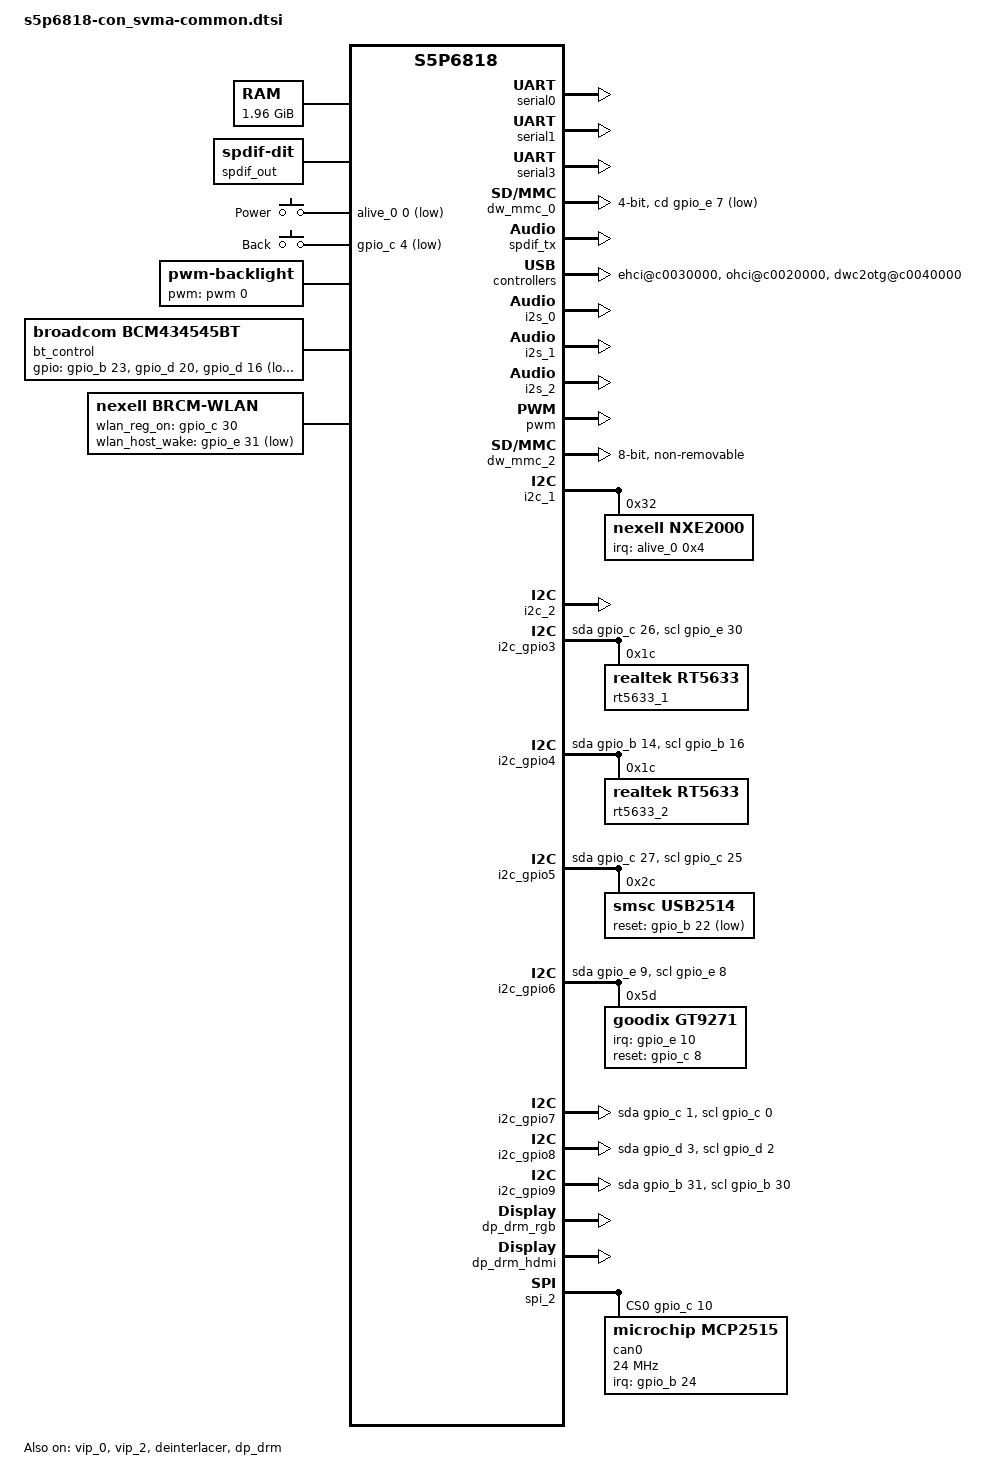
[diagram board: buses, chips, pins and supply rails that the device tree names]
/*
 * Copyright (C) 2020  Nexell Co., Ltd.
 * Author: Juntae, Kim <jt.kim@coasianexell.com>
 *
 * This program is free software; you can redistribute it and/or
 * modify it under the terms of the GNU General Public License
 * as published by the Free Software Foundation; either version 2
 * of the License, or (at your option) any later version.
 *
 * This program is distributed in the hope that it will be useful,
 * but WITHOUT ANY WARRANTY; without even the implied warranty of
 * MERCHANTABILITY or FITNESS FOR A PARTICULAR PURPOSE.  See the
 * GNU General Public License for more details.
 *
 * You should have received a copy of the GNU General Public License
 * along with this program.  If not, see <http://www.gnu.org/licenses/>.
 */

#include <dt-bindings/interrupt-controller/irq.h>
#include <dt-bindings/gpio/gpio.h>
#include <dt-bindings/input/input.h>
#include "s5p6818.dtsi"
#include "s5p6818-audio-dfs-pll3.dtsi"

/ {
	memory {
		device_type = "memory";
		reg = <0x40000000 0x7db00000>;
	};

	aliases {
		i2c3 = &i2c_gpio3;
		i2c4 = &i2c_gpio4;
		i2c5 = &i2c_gpio5;
		i2c6 = &i2c_gpio6;
		i2c7 = &i2c_gpio7;
		i2c8 = &i2c_gpio8;
		i2c9 = &i2c_gpio9;
	};

	nx-v4l2 {
		status = "okay";
	};

	soc {
		#include "s5p6818-pinctrl.dtsi"
		clocks {
			uart0:uart@c00a9000 { clock-frequency = <147500000>; };
			uart1:uart@c00a8000 { clock-frequency = <147500000>; };
			uart3:uart@c00ab000 { clock-frequency = <147500000>; };
			uart4:uart@c006e000 { clock-frequency = <147500000>; };
			vip0:vip@c00c1000 { clock-frequency = <300000000>; };
			vip2:vip@c009a000 { src-force = <4>; };
			spi2:spi@c00a7000  { clock-frequency = <20000000>; };

			pwm0:pwm0@c00ba000 {
				clk-input = <I_PLL2>;
				clock-frequency = <10000000>;
			};
			pwm3:pwm3@c00be000 {
				clk-input = <I_PLL2>;
				clock-frequency = <10000000>;
			};

			i2s0:i2s@c00b2000 { clk-input = <I_PLL2>; };
			i2s1:i2s@c00b3000 { clk-input = <I_PLL2>; };
			i2s2:i2s@c00b4000 { clk-input = <I_EXTCLK1>; };

			i2c0:i2c@c00ae000 { clock-frequency = <200000000>; };
			i2c1:i2c@c00af000 { clock-frequency = <200000000>; };
			i2c2:i2c@c00b0000 { clock-frequency = <200000000>; };
		};

		dynamic-freq@bb000 {
			supply_name = "vdd_core_regulator";
			vdd_core_regulator-supply = <&VCC_DCDC0>;
		};

		serial0:serial@c00a1000 {
			status ="okay";
		};

		serial1:serial@c00a0000 {
			/* dmas = <&pl08xdma0 0 0>, <&pl08xdma0 1 0>; */
			/* dma-names = "tx", "rx"; */
			pinctrl-0 = <&serial1_pin>, <&serial1_flow>;
			status ="okay";
		};

		serial3:serial@c00a3000 {
			status ="okay";
		};

		serial4:serial@c006d000 {
			status ="disabled";
		};
		/* for bt/wifi */
		dw_mmc_1_btwifi:dw_mmc_btwifi@c0068000 {
			compatible = "nexell,s5p6818-dw-mshc";
			interrupts = <0 IRQ_SDMMC1 0>;
			#address-cells = <1>;
			#size-cells = <0>;
			reg = <PHYS_BASE_SDMMC1 0x1000>;
			resets  = <&nexell_reset RESET_ID_SDMMC1>;
			reset-names = "dw_mmc-reset";
			clock-names = "biu","ciu";
			clocks = <&sdhc1>, <&sdhc1>;
			deferred-probe;
			num-slots = <1>;
			bus-width = <4>;
			cap-sd-highspeed;
			clock-frequency = <100000000>;
			cd-type-external;
			broken-cd;
			pm-ignore-notify;
			keep-power-in-suspend;
			powered-resumed-nonremovable-card;
			cd-type = <2>;
			pinctrl-names = "default";
			pinctrl-0 = <&sdmmc1_cclk &sdmmc1_cmd &sdmmc1_bus4
			    &cfg_wlanen &cfg_wlanhostwake>;
			fifo-detph = <0x20>;
			nexell,drive_dly = <0x0>;
			nexell,drive_shift = <0x02>;
			nexell,sample_dly = <0x00>;
			nexell,sample_shift = <0x01>;
			status = "disabled";
		};
		/* for sdcard */
		dw_mmc_1:dw_mmc@c0068000 {
			deferred-probe;
			num-slots = <1>;
			bus-width = <4>;
			cap-sd-highspeed;
			clock-frequency = <100000000>;
			card-detect-delay = <200>;
			disable-wp;
			cd-gpios = <&gpio_e 31 0>;
			cd-inverted;
			nexell,drive_dly = <0x0>;
			nexell,drive_shift = <0x02>;
			nexell,sample_dly = <0x00>;
			nexell,sample_shift = <0x01>;
			status = "disabled";
		};

		dw_mmc_0:dw_mmc@c0062000 {
			deferred-probe;
			num-slots = <1>;
			bus-width = <4>;
			cap-sd-highspeed;
			clock-frequency = <100000000>;
			card-detect-delay = <200>;
			disable-wp;
			cd-gpios = <&gpio_e 7 0>;
			cd-inverted;
			nexell,drive_dly = <0x0>;
			nexell,drive_shift = <0x02>;
			nexell,sample_dly = <0x00>;
			nexell,sample_shift = <0x01>;
			status = "okay";
		};

		amba {
			pl08xdma0:pl08xdma@c0000000 {
				deferred-probe;
				use_isr;

				ch12 {
					slave_wait_flush_dma;
				};

				ch13 {
					slave_wait_flush_dma;
				};

				ch14 {
					slave_wait_flush_dma;
				};

				ch15 {
					slave_wait_flush_dma;
				};
			};

			pl08xdma1:pl08xdma@c0001000 {
				deferred-probe;
				use_isr;

				ch0 {
					slave_wait_flush_dma;
				};

				ch1 {
					slave_wait_flush_dma;
				};
			};
		};

		spdif_tx: spdiftx@c0059000 {
			deferred-probe;
			#sound-dai-cells = <1>;
			pcm-bit = <16>;
			sample_rate = <48000>;
			status = "okay";
		};

		watchdog@c0019000 {
			status = "okay";
		};

		rtc@c0010c00 {
			status = "okay";
		};

		nexell_usbphy: nexell-usbphy@c0012000 {
			deferred-probe;
			status = "okay";
		};

		ehci@c0030000 {
			deferred-probe;
			status = "okay";
			port@0 {
				status = "okay";
			};
		};

		ohci@c0020000 {
			deferred-probe;
			status = "okay";
			port@0 {
				status = "okay";
			};
		};

		dwc2otg@c0040000 {
			deferred-probe;
			nouse_idcon = <1>;
			status = "okay";
		};

		i2s_0:i2s@c0055000 {
			/*dfs;
			dfs-pll = <3>;*/
			#sound-dai-cells = <1>;
			master-mode = <1>;
			mclk-in = <0>;
			trans-mode = <0>;
			frame-bit = <32>;
			sample-rate = <48000>;
			pre-supply-mclk = <1>;
			status = "okay";
		};

		i2s_1:i2s@c0056000 {
			dfs;
			dfs-pll = <2>;
			#sound-dai-cells = <1>;
			master-mode = <1>;
			mclk-in = <0>;
			trans-mode = <0>;
			frame-bit = <32>;
			sample-rate = <48000>;
			pre-supply-mclk = <1>;
			status = "okay";
		};

		i2s_2:i2s@c0057000 {
			#sound-dai-cells = <1>;
			master-mode = <0>;
			mclk-in = <1>;
			trans-mode = <0>;
			frame-bit = <32>;
			sample-rate = <16000>;
			pre-supply-mclk = <0>;
			dfs;
			status = "okay";
		};

		pwm:pwm@c0018000 {
			deferred-probe;
			clock-names = "timers", "pwm-tclk0", "pwm-tclk3";
			clocks = <&pclk>, <&pwm0>, <&pwm3>;
			pinctrl-names = "default";
			pinctrl-0 = <&pwm0_pin &pwm3_pin>;
			samsung,pwm-outputs = <0>, <3>;
			status = "okay";
		};

		dw_mmc_2:dw_mmc@c0069000 {
			num-slots = <1>;
			bus-width = <8>;
			mmc-ddr-1_8v;
			pinctrl-0 = <&sdmmc2_cclk &sdmmc2_cmd
						&sdmmc2_bus4 &sdmmc2_bus8>;
			soc,tieoff = <NX_TIEOFF_MMC_8BIT 1>;
			cap-mmc-highspeed;
			broken-cd;
			non-removable;
			clock-frequency = <200000000>;
			card-detect-delay = <200>;
			disable-wp;
			status = "okay";
			nexell,drive_dly = <0x0>;
			nexell,drive_shift = <0x03>;
			nexell,sample_dly = <0x00>;
			nexell,sample_shift = <0x02>;
		};

		tmuctrl_0: tmuctrl@c0096000 {
			status = "disabled";
		};

		thermal-zones {
			cpu0_thermal: cpu0-thermal {
				thermal-sensors = <&tmuctrl_0>;
				polling-delay-passive = <1000>;
				polling-delay = <1000>;
				trips {
					cpu_alert0: cpu-alert-0 {
						temperature = <80000>;
						hysteresis = <0>;
						type = "active";
					};
					cpu_alert1: cpu-alert1 {
						temperature = <85000>;
						hysteresis = <0>;
						type = "active";
					};
					cpu-crit-0 {
						temperature = <115000>;
						hysteresis = <0>;
						type = "critical";
					};
				};

				cooling-maps {
					map0 {
						trip = <&cpu_alert0>;
						cooling-device = <&cpu0 0 9>;
					};
					map1 {
						trip = <&cpu_alert1>;
						cooling-device = <&cpu0 9 10>;
					};
				};
			};
		};

		i2c_1:i2c@c00a5000 {
			#address-cells = <1>;
			#size-cells = <0>;
			samsung,i2c-max-bus-freq = <400000>;
			samsung,i2c-sda-delay = <1>;
			status = "okay";

			nxe2000@32 {
				deferred-probe;
				compatible = "nexell,nxe2000";
				reg = <0x32>;
				interrupt-parent = <&alive_0>;
				interrupts = <0x4 IRQ_TYPE_EDGE_FALLING>;
				#include "s5p6818-con_svma-nxe2000.dtsi"
			};
		};

		i2c_2:i2c@c00a6000 {
			#address-cells = <1>;
			#size-cells = <0>;
			status = "okay";
		};

		/*
		 * logical device started from clipper3
		 * the number of the device is calculated by following way
		 * ((module * VIP_MAX_LOGICAL_DEV(3)) + logical_num)
		 */
		clipper_3:clipper3@c0063000 {
			compatible = "nexell,nx-clipper";
			module = <0>;
			logical = <1>;
			logical_num = <0>;
			status = "disabled";
		};

		clipper_4:clipper4@c0063000 {
			compatible = "nexell,nx-clipper";
			module = <0>;
			logical = <1>;
			logical_num = <1>;
			status = "disabled";
		};

		clipper_5:clipper5@c0063000 {
			compatible = "nexell,nx-clipper";
			module = <0>;
			logical = <1>;
			logical_num = <2>;
			status = "disabled";
		};

		clipper_6:clipper6@c0064000 {
			compatible = "nexell,nx-clipper";
			module = <1>;
			logical = <1>;
			logical_num = <0>;
			status = "disabled";
		};

		clipper_7:clipper7@c0064000 {
			compatible = "nexell,nx-clipper";
			module = <1>;
			logical = <1>;
			logical_num = <1>;
			status = "disabled";
		};

		clipper_8:clipper8@c0064000 {
			compatible = "nexell,nx-clipper";
			module = <1>;
			logical = <1>;
			logical_num = <2>;
			status = "disabled";
		};

		clipper_9:clipper9@c0099000 {
			compatible = "nexell,nx-clipper";
			module = <2>;
			logical = <1>;
			logical_num = <0>;
			status = "disabled";
		};

		clipper_10:clipper10@c0099000 {
			compatible = "nexell,nx-clipper";
			module = <2>;
			logical = <1>;
			logical_num = <1>;
			status = "disabled";
		};

		clipper_11:clipper11@c0099000 {
			compatible = "nexell,nx-clipper";
			module = <2>;
			logical = <1>;
			logical_num = <2>;
			status = "disabled";
		};

		/*
		 * logical device started from decimator3
		 * the number of the device is calculated by following way
		 * ((module * VIP_MAX_LOGICAL_DEV(3)) + logical_num)
		 */

		decimator_3:decimator3@c0063000 {
			compatible = "nexell,nx-decimator";
			module = <0>;
			logical = <1>;
			logical_num = <0>;
			status = "disabled";
		};

		decimator_4:decimator4@c0063000 {
			compatible = "nexell,nx-decimator";
			module = <0>;
			logical = <1>;
			logical_num = <1>;
			status = "disabled";
		};

		decimator_5:decimator5@c0063000 {
			compatible = "nexell,nx-decimator";
			module = <0>;
			logical = <1>;
			logical_num = <2>;
			status = "disabled";
		};

		decimator_6:decimator6@c0064000 {
			compatible = "nexell,nx-decimator";
			module = <1>;
			logical = <1>;
			logical_num = <0>;
			status = "disabled";
		};

		decimator_7:decimator7@c0064000 {
			compatible = "nexell,nx-decimator";
			module = <1>;
			logical = <1>;
			logical_num = <1>;
			status = "disabled";
		};

		decimator_8:decimator8@c0064000 {
			compatible = "nexell,nx-decimator";
			module = <1>;
			logical = <1>;
			logical_num = <2>;
			status = "disabled";
		};

		decimator_9:decimator9@c0099000 {
			compatible = "nexell,nx-decimator";
			module = <2>;
			logical = <1>;
			logical_num = <0>;
			status = "disabled";
		};

		decimator_10:decimator10@c0099000 {
			compatible = "nexell,nx-decimator";
			module = <2>;
			logical = <1>;
			logical_num = <1>;
			status = "disabled";
		};

		decimator_11:decimator11@c0099000 {
			compatible = "nexell,nx-decimator";
			module = <2>;
			logical = <1>;
			logical_num = <2>;
			status = "disabled";
		};

		scaler@c0066000 {
			status = "okay";
		};

		pinctrl@C0010000 {
			key_power:key_power {
				nexell,pins = "alive-0";
				nexell,pin-function = <0>;
				nexell,pin-pull = <1>;
				nexell,pin-strength = <0>;
			};

			key_back:key_back {
				nexell,pins = "gpioc-4";
				nexell,pin-function = <0>;
				nexell,pin-pull = <1>;
				nexell,pin-strength = <0>;
			};

			tp2825_reset:tp2825_reset {
				nexell,pins = "gpioc-2";
				nexell,pin-function = <1>;
				nexell,pin-pull = <2>;
				nexell,pin-strength = <0>;
			};

			bt_cfg_hostwake:bt_cfg_hostwake {
				nexell,pins = "gpiod-16";
				nexell,pin-function = <0>;
				nexell,pin-pull = <2>;
				nexell,pin-strength = <0>;
			};

			bt_cfg_btwake:bt_cfg_btwake {
				nexell,pins = "gpiod-20";
				nexell,pin-function = <0>;
				nexell,pin-pull = <2>;
				nexell,pin-strength = <0>;
			};

			bt_cfg_en:bt_cfg_en {
				nexell,pins = "gpiob-23";
				nexell,pin-function = <1>;
				nexell,pin-pull = <2>;
				nexell,pin-strength = <0>;
			};

			cfg_wlanen: cfg-wlanen {
				nexell,pins ="gpioc-30";
				nexell,pin-function = <0>;
				nexell,pin-pull = <2>;
				nexell,pin-strength = <0>;
			};

			cfg_wlanhostwake: cfg-wlanhostwake {
				nexell,pins = "gpioe-31";
				nexell,pin-function = <1>;
				nexell,pin-pull = <1>;
				nexell,pin-strength = <0>;
			};

			i2s2_bus:i2s2 {
				/delete-node/ i2s2-mclk;
			};

		};
	}; /*** soc ***/

	i2c_gpio3: i2c@3 {
		compatible = "i2c-gpio";
		gpios = <&gpio_c 26 0 /* sda */
			&gpio_e 30 0 /* scl */>;
		i2c-gpio,delay-us = <1>;
		#address-cells = <1>;
		#size-cells = <0>;

		rt5633_1: rt5633_1@1c {
			deferred-probe;
			#sound-dai-cells = <0>;
			compatible = "realtek,rt5633";
			reg = <0x1c>;
		};
	};

	i2c_gpio4: i2c@4 {
		compatible = "i2c-gpio";
		gpios = <&gpio_b 14 0 /* sda */
			&gpio_b 16 0 /* scl */>;
		i2c-gpio,delay-us = <1>;
		#address-cells = <1>;
		#size-cells = <0>;

		rt5633_2: rt5633_2@1a {
			#sound-dai-cells = <0>;
			compatible = "realtek,rt5633";
			reg = <0x1c>;
		};
	};

	i2c_gpio5: i2c@5 {
		compatible = "i2c-gpio";
		gpios = <&gpio_c 27 0 /* sda */
			&gpio_c 25 0 /* scl */
			>;
		i2c-gpio,delay-us = <5>;
		#address-cells = <1>;
		#size-cells = <0>;

		usb2514: usb2514@2c {
			deferred-probe;
			compatible = "smsc,usb2514";
			reg = <0x2c>;
			reset-gpios = <&gpio_b 22 1>;
			initial-mode = <1>;
		};
	};

	i2c_gpio6: i2c@6 {
		compatible = "i2c-gpio";
		gpios = <&gpio_e 9 0 /* sda */
			&gpio_e 8 0 /* scl */
			>;
		i2c-gpio,delay-us = <5>;
		#address-cells = <1>;
		#size-cells = <0>;
	}; /* Touch */

	i2c_gpio7: i2c@7 {
		compatible = "i2c-gpio";
		gpios = <&gpio_c 1 0 /* sda */
			&gpio_c 0 0 /* scl */
			>;
		i2c-gpio,delay-us = <5>;
		#address-cells = <1>;
		#size-cells = <0>;
	}; /* TVI : TP2825 */

	i2c_gpio8: i2c@8 {
		compatible = "i2c-gpio";
		gpios = <&gpio_d 3 0 /* sda */
			&gpio_d 2 0 /* scl */
			>;
		i2c-gpio,delay-us = <5>;
		#address-cells = <1>;
		#size-cells = <0>;
	}; /* TW9900 */

	i2c_gpio9: i2c@9 {
		compatible = "i2c-gpio";
		gpios = <&gpio_b 31 0 /* sda */
			&gpio_b 30 0 /* scl */
			>;
		i2c-gpio,delay-us = <5>;
		#address-cells = <1>;
		#size-cells = <0>;
	}; /* HDMI */

	snd_null: snd_null@10 {
		deferred-probe;
		#sound-dai-cells = <0>;
		compatible = "nexell,snd-null";
		#address-cells = <1>;
		#size-cells = <0>;
		reg = <0 0>;
	};

	sound {
		deferred-probe;
		compatible = "nexell,simple-audio-card";
		simple-audio-card,name = "s5p6818 Convergence Car Audio Main";
		simple-audio-card,mclk-fs = <256>;
		simple-audio-card,widgets =
			"Line", "Line Out",
			"Microphone", "Mic Jack",
			"Line", "Line In",
			"Speaker", "Speaker Out";
		simple-audio-card,routing =
			"Line Out", "AUXOUTL",
			"Line Out", "AUXOUTR",
			"Speaker Out", "SPOL",
			"Speaker Out", "SPOR",
			"MIC1", "Mic Jack",
			"LINE1L", "Line In",
			"LINE1R", "Line In";

		status = "okay";

		simple-audio-card,dai-link@0 {
			format = "i2s";
			cpu {
				sound-dai = <&i2s_1 0>;
			};

			codec {
				sound-dai = <&rt5633_2>;
			};
		};

		simple-audio-card,dai-link@1 {
			format = "i2s";
			cpu {
				sound-dai = <&i2s_2 0>;
			};

			codec {
				sound-dai = <&snd_null>;
			};
		};

		simple-audio-card,dai-link@2 {
			format = "spdif";
			cpu {
				sound-dai = <&spdif_tx 0>;
			};

			codec {
				sound-dai = <&spdif_out>;
			};
		};
	};

	sound-sub {
		deferred-probe;
		compatible = "nexell,simple-audio-card";
		simple-audio-card,name = "s5p6818 Convergence Car Audio Sub";
		simple-audio-card,mclk-fs = <256>;
		simple-audio-card,widgets =
			"Line", "Line Out",
			"Microphone", "Mic Jack",
			"Line", "Line In",
			"Speaker", "Speaker Out";
		simple-audio-card,routing =
			"Line Out", "AUXOUTL",
			"Line Out", "AUXOUTR",
			"Speaker Out", "SPOL",
			"Speaker Out", "SPOR",
			"MIC1", "Mic Jack",
			"LINE1L", "Line In",
			"LINE1R", "Line In";
		status = "okay";

		simple-audio-card,dai-link@0 {
			format = "i2s";
			cpu {
			sound-dai = <&i2s_0 0>;
			};

			codec {
			sound-dai = <&rt5633_1>;
			};
		};
	};

	spdif_out: spdif-out {
		deferred-probe;
		#sound-dai-cells = <0>;
		compatible = "linux,spdif-dit";
	};

	gpio_key: gpio_keys {
		deferred-probe;
		compatible = "gpio-keys";
		#address-cells = <1>;
		#size-cells = <0>;
		pinctrl-names = "default";
		pinctrl-0 = <&key_power &key_back>;

		power {
			label = "Power";
			gpios = <&alive_0 0 GPIO_ACTIVE_LOW>;
			linux,code = <KEY_POWER>;
			gpio-key,wakeup;
		};

		back {
			label = "Back";
			gpios = <&gpio_c 4 GPIO_ACTIVE_LOW>;
			linux,code = <KEY_BACK>;
		};
	};

	nexell-ion@0 {
		compatible = "nexell,ion";

		heap_sys_user@0 {
			heap-type = "ion_system";
		};

		heap_sys_contig@0 {
			heap-type = "ion_system_contig";
		};

		heap_dma@0 {
			heap-type = "ion_dma";
		};
	};

	backlight: pwm-backlight {
		deferred-probe;
		compatible = "pwm-backlight";
		pwm-names = "pwm-backlight";
		pwms = <&pwm 0 25000 0>;
		brightness-levels = <
			10 11 12 13 14 15 16 17 18 19
			20 21 22 23 24 25 26 27 28 29
			30 31 32 33 34 35 36 37 38 39
			40 41 42 43 44 45 46 47 48 49
			50 51 52 53 54 55 56 57 58 59
			60 61 62 63 64 65 66 67 68 69
			70 71 72 73 74 75 76 77 78 79
			80 81 82 83 84 85 86 87 88 89
			90 91 92 93 94 95 96 97 98 99
			100 101 102 103 104 105 106 107 108 109
			110 111 112 113 114 115 116 117 118 119
			120 121 122 123 124 125 126 127 128 129
			130 131 132 133 134 135 136 137 138 139
			140 141 142 143 144 145 146 147 148 149
			150 151 152 153 154 155 156 157 158 159
			160 161 162 163 164 165 166 167 168 169
			170 171 172 173 174 175 176 177 178 179
			180 181 182 183 184 185 186 187 188 189
			190 191 192 193 194 195 196 197 198 199
			200 201 202 203 204 205 206 207 208 209
			210 211 212 213 214 215 216 217 218 219
			220 221 222 223 224 225 226 227 228 229
			230 231 232 233 234 235 236 237 238 239
			240 241 242 243 244 245 246 247 248 249
			250 251 252 253 254 255
			>;
		default-brightness-level = <60>;
		status = "okay";
	};

	bt_control:nx_bt {
		deferred-probe;
		compatible = "broadcom,bcm434545bt";
		gpios = <&gpio_b 23 0 /* GPIOB23 = BT_EN, output */
			&gpio_d 20 0 /* GPIOD20 = BT_WAKE, output */
			&gpio_d 16 1 /* GPIOD16 = BT_HOST_WAKE, input */
			>;
		pinctrl-names = "default";
		pinctrl-0 = <&bt_cfg_hostwake &bt_cfg_btwake &bt_cfg_en>;
		status = "okay";
	};

	wlan:nx_wlan {
		deferred-probe;
		compatible = "nexell,brcm-wlan";
		wlan_reg_on = <&gpio_c 30 0>;
		wlan_host_wake = <&gpio_e 31 1>;
		status = "okay";
	};

	firmware {
		android {
			compatible = "android,firmware";
			fstab {
				compatible = "android,fstab";
				vendor {
					compatible = "android,vendor";
					dev = "/dev/block/platform/c0000000.soc/c0069000.dw_mmc/by-name/vendor";
					type = "ext4";
					mnt_flags = "ro,barrier=1,inode_readahead_blks=8";
					fsmgr_flags = "wait,slotselect";
				};
			};
		};
	};
};

&vip_0 {
    status = "okay";
};

&mipi_csi {
    data_lane = <4>;
    pllval = <750>;
    hssettle = <12>;
    interrupts = <IRQ_MIPI>;
    status = "disabled";
};

&clipper_0 {
    interface_type = <NX_CAPTURE_INTERFACE_MIPI_CSI>;
    gpios = <&gpio_b 12 0 &gpio_c 13 0>;
    data_order = <NX_VIN_CBY0CRY1>;
    interlace = <0>;
    status = "disabled";
    external_sync = <0>;

    sensor {
        type = <NX_CAPTURE_SENSOR_I2C>;
        i2c_name = "max9286";
        i2c_adapter = <2>;
        addr = <0x48>;
    };

    power {
        enable_seq = <
        NX_ACTION_START NX_ACTION_TYPE_GPIO 0 1 20 NX_ACTION_END
        NX_ACTION_START NX_ACTION_TYPE_GPIO 1 1 10 NX_ACTION_END
        >;

        disable_seq = <
        NX_ACTION_START NX_ACTION_TYPE_GPIO 1 0 2 NX_ACTION_END
        NX_ACTION_START NX_ACTION_TYPE_GPIO 0 0 15 NX_ACTION_END
        >;
    };
};

&decimator_0 {
	status = "disabled";
};

&vip_2 {
	status = "okay";
};

&clipper_2 {
	interface_type = <NX_CAPTURE_INTERFACE_PARALLEL>;
	pinctrl-names = "default";
	pinctrl-0 = <&vid0_data_clk>;
	data_order = <NX_VIN_CBY0CRY1>;
	port = <0>;
	external_sync = <0>;
	interlace = <1>;
	status = "disabled";

	sensor {
		type = <NX_CAPTURE_SENSOR_I2C>;
		i2c_name = "tw9900";
		i2c_adapter = <8>;
		addr = <0x44>;
	};
};

&decimator_2 {
	status = "disabled";
};

&clipper_9 {
	interface_type = <NX_CAPTURE_INTERFACE_PARALLEL>;
	pinctrl-names = "default";
	pinctrl-0 = <&tp2825_reset &vid0_data_clk>;
	gpios = <&gpio_c 2 0>;
	data_order = <NX_VIN_CBY0CRY1>;
	port = <0>;
	external_sync = <0>;
	interlace = <0>;
	status = "disabled";

	sensor {
		type = <NX_CAPTURE_SENSOR_I2C>;
		i2c_name = "tp2825";
		i2c_adapter = <7>;
		addr = <0x45>;
	};

	power {
		enable_seq = <
		NX_ACTION_START NX_ACTION_TYPE_GPIO 0 1 1 NX_ACTION_END
		>;
	};
};

&decimator_9 {
	status = "disabled";
};

&deinterlacer {
	status = "okay";
};

&dp_drm {
	status = "okay";
	ports {
		port@0 {
			reg = <0>;
			back_color = < 0x0 >;
			color_key = < 0x0 >;
			plane-names = "rgb", "primary", "video";
		};
		port@1 {
			reg = <1>;
			back_color = < 0x0 >;
			color_key = < 0xff00ff >;
			plane-names = "primary", "video";
		};
	};
};

&dp_drm_rgb {
	status = "ok";
	pinctrl-names = "default";
	pinctrl-0 = <&dp_rgb_vclk &dp_rgb_vsync &dp_rgb_hsync
	&dp_rgb_de &dp_rgb_R &dp_rgb_G &dp_rgb_B>;

	display-timing {
		clock-frequency = <88000000>;

		hactive = <1920>;
		vactive = <720>;

		hback-porch = <30>;
		hfront-porch = <30>;
		hsync-len = <4>;

		vback-porch = <10>;
		vfront-porch = <10>;
		vsync-len = <2>;

		hsync-active = <1>;
		vsync-active = <1>;
		pixelclk-active = <1>;
		de-active = <1>;
	};

	dp_control {
		clk_src_lv0 = <0>;
		clk_div_lv0 = <9>;
		clk_src_lv1 = <7>;
		clk_div_lv1 = <1>;
		out_format = <3>;
	};
};

&dp_drm_hdmi {
	deferred-probe;
	ddc-i2c-bus = <&i2c_gpio9>;
	skip-boot-connect;
	status = "ok";
};

&spi_2 {
	deferred-probe;
	status = "okay";
	cs-gpios = <&gpio_c 10 0>;
	can0: can@0 {
		compatible = "microchip,mcp2515";
		reg = <0>;
		clocks = <&spi2>;
		interrupt-parent = <&gpio_b>;
		interrupts = <24 IRQ_TYPE_EDGE_FALLING>;
		spi-max-frequency = <24000000>;

		controller-data {
			samsung,spi-feedback-delay = <0>;
		};
	};
};

&i2c_gpio6 {
	compatible = "i2c-gpio";
	gpios = <&gpio_e 9 0 /* sda */
		&gpio_e 8 0 /* scl */
		>;
	status = "okay";

	goodix@5d {
		deferred-probe;
		compatible = "goodix,gt9271";
		reg = <0x5d>;
		interrupt-parent = <&gpio_e>;
		interrupts = <10 IRQ_TYPE_EDGE_FALLING>;
		irq-gpios = <&gpio_e 10 0>;
		reset-gpios = <&gpio_c 8 0>;
	};
};

